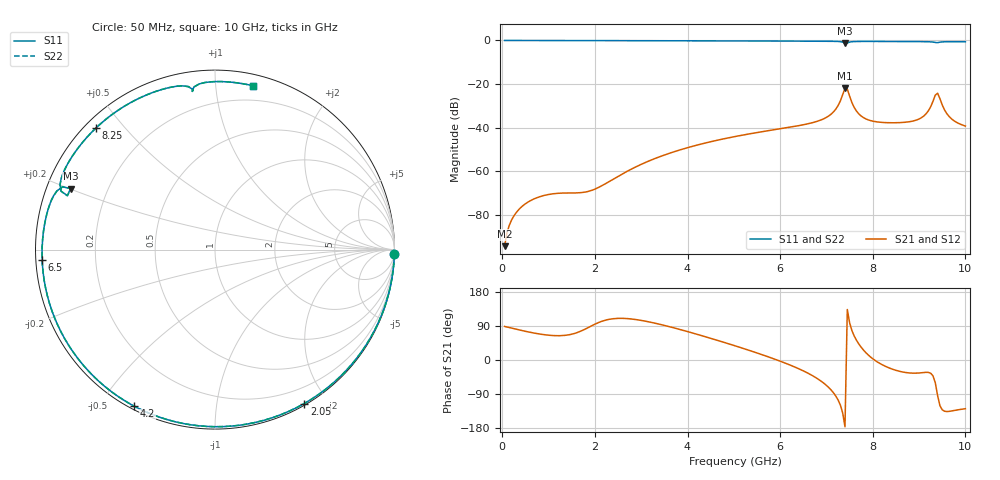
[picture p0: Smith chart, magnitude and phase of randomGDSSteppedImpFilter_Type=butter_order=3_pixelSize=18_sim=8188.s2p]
! freq	dB(S11)	phase(S11)	dB(S12)	phase(S12)
!  dB(S21)	phase(S21)	dB(S22)	phase(S22)
!S-par simulation data
#  GHz  S  DB  R 50
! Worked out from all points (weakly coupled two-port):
!   200 points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, 50 MHz to 10 GHz, reference 50 ohm
!   highest |S21| = -21.97 dB at 7.4 GHz (marker M1); lowest = -94.3 dB at 50 MHz (marker M2)
!   lowest |S11| = -1.2 dB at 7.4 GHz (marker M3), VSWR 14.81, Z = 3.51 + j10.1 ohm
!   |S11| at or under -10 dB: nowhere
!   |S22| runs from -1.2 to 0.0 dB; largest |S21 - S12| = 0
!   S11 on the Smith chart (normalised r, x): 50 MHz: 0, -75; 2.05 GHz: 0.02, -1.74; 4.2 GHz: 0.01, -0.61; 6.5 GHz: 0.02, -0.03; 8.25 GHz: 0.03, +0.42; 10 GHz: 0.08, +1.25
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0.05  -0.00 -1.5  -94.30 88.5  -94.30 88.5  -0.00 -1.5
0.25  -0.01 -7.5  -80.44 82.7  -80.44 82.7  -0.01 -7.5
0.5  -0.02 -15.0  -74.85 75.7  -74.85 75.7  -0.02 -15.0
0.85  -0.03 -25.3  -71.36 67.7  -71.36 67.7  -0.03 -25.3
1.75  -0.07 -51.4  -69.64 79.2  -69.64 79.2  -0.07 -51.4
2.05  -0.08 -59.9  -67.67 97.3  -67.67 97.3  -0.08 -59.9
3.4  -0.13 -96.5  -53.29 94.3  -53.29 94.3  -0.13 -96.5
4.2  -0.16 -117.3  -47.99 68.0  -47.99 68.0  -0.16 -117.3
5.05  -0.21 -138.9  -43.95 36.5  -43.95 36.5  -0.21 -138.9
6.5  -0.31 -176.5  -38.65 -28.7  -38.65 -28.7  -0.31 -176.5
6.7  -0.33 178.0  -37.69 -41.4  -37.69 -41.4  -0.33 178.0
7.15  -0.40 165.0  -32.79 -86.4  -32.79 -86.4  -0.40 164.9
7.4  -1.17 157.1  -21.97 -176.2  -21.97 -176.2  -1.18 157.1
7.6  -0.50 155.3  -30.74 63.2  -30.74 63.2  -0.50 155.3
7.75  -0.45 150.2  -34.65 33.6  -34.65 33.6  -0.45 150.2
8.25  -0.46 134.6  -37.63 -15.4  -37.63 -15.4  -0.46 134.6
8.35  -0.47 131.4  -37.72 -20.8  -37.72 -20.8  -0.47 131.4
9.05  -0.54 108.5  -35.42 -33.7  -35.42 -33.7  -0.54 108.5
9.2  -0.59 103.1  -32.27 -32.7  -32.27 -32.7  -0.59 103.1
9.4  -1.01 98.2  -24.19 -93.8  -24.19 -93.8  -1.01 98.2
9.65  -0.57 89.6  -34.89 -135.5  -34.89 -135.5  -0.57 89.6
10  -0.57 77.0  -39.25 -128.6  -39.25 -128.6  -0.57 77.0
